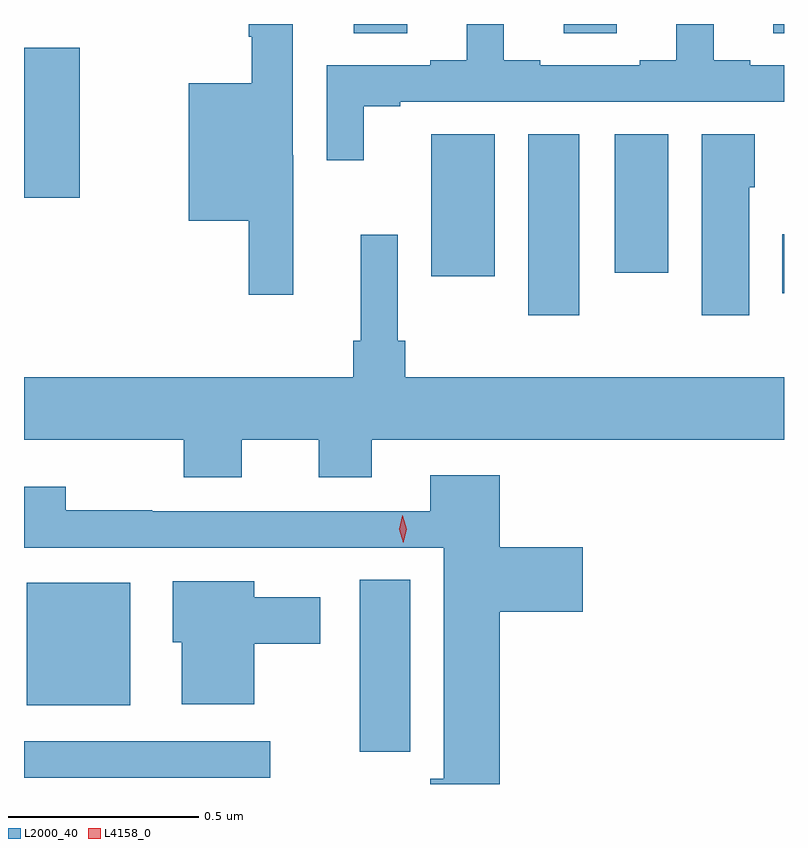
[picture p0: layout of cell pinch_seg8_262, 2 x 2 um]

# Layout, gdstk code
import gdstk
lib = gdstk.Library(unit=1e-6, precision=1e-09)
def R(c, l, rs):  # rectangles x0, y0, x1, y1
    for r in rs: c.add(gdstk.rectangle(r[:2], r[2:], *l))
def P(c, l, *ps):  # polygons
    for p in ps: c.add(gdstk.Polygon(p, *l))
L2000_40 = (2000, 40)
L4158_0 = (4158, 0)

pinch_seg8_262 = lib.new_cell('pinch_seg8_262')
R(pinch_seg8_262, L2000_40, [(497.023,1147.578,497.671,1147.674), (497.906,1147.647,498.04,1148.099), (497.03,1147.769,497.302,1148.092), (498.35,1148.796,498.484,1149.272), (499.019,1148.853,499.023,1149.009), (498.095,1148.898,498.262,1149.272), (498.578,1148.907,498.718,1149.272), (497.023,1149.105,497.17,1149.499), (497.891,1149.538,498.031,1149.562), (498.443,1149.538,498.583,1149.562), (498.995,1149.538,499.023,1149.562)])
P(pinch_seg8_262, L2000_40, [(497.917,1149.345),(498.013,1149.345),(498.013,1149.357),(499.023,1149.357),(499.023,1149.453),(498.934,1149.453),(498.934,1149.466),(498.838,1149.466),(498.838,1149.562),(498.74,1149.562),(498.74,1149.466),(498.644,1149.466),(498.644,1149.453),(498.382,1149.453),(498.382,1149.466),(498.286,1149.466),(498.286,1149.562),(498.188,1149.562),(498.188,1149.466),(498.092,1149.466),(498.092,1149.453),(497.82,1149.453),(497.82,1149.204),(497.917,1149.204)],
  [(497.732,1149.216),(497.73,1149.216),(497.73,1149.562),(497.614,1149.562),(497.614,1149.528),(497.622,1149.528),(497.622,1149.406),(497.456,1149.406),(497.456,1149.044),(497.614,1149.044),(497.614,1148.85),(497.732,1148.85)],
  [(498.931,1149.132),(498.946,1149.132),(498.946,1149.272),(498.806,1149.272),(498.806,1148.796),(498.931,1148.796)],
  [(497.596,1148.468),(497.798,1148.468),(497.798,1148.369),(497.938,1148.369),(497.938,1148.468),(499.023,1148.468),(499.023,1148.632),(498.026,1148.632),(498.026,1148.728),(498.006,1148.728),(498.006,1149.007),(497.909,1149.007),(497.909,1148.728),(497.89,1148.728),(497.89,1148.632),(497.023,1148.632),(497.023,1148.468),(497.444,1148.468),(497.444,1148.369),(497.596,1148.369)],
  [(498.275,1148.015),(498.493,1148.015),(498.493,1148.185),(498.275,1148.185),(498.275,1148.374),(498.092,1148.374),(498.092,1148.28),(497.36,1148.28),(497.36,1148.282),(497.133,1148.282),(497.133,1148.344),(497.023,1148.344),(497.023,1148.184),(498.128,1148.184),(498.128,1147.576),(498.092,1147.576),(498.092,1147.562),(498.275,1147.562)],
  [(497.629,1147.931),(497.803,1147.931),(497.803,1148.053),(497.629,1148.053),(497.629,1148.095),(497.414,1148.095),(497.414,1147.935),(497.438,1147.935),(497.438,1147.772),(497.629,1147.772)])
P(pinch_seg8_262, L4158_0, [(498.021,1148.197),(498.021,1148.197),(498.01,1148.232),(498.019,1148.268),(498.019,1148.269),(498.02,1148.268),(498.03,1148.233),(498.021,1148.197)])

lib.write_gds('pinch_seg8_262.gds')
